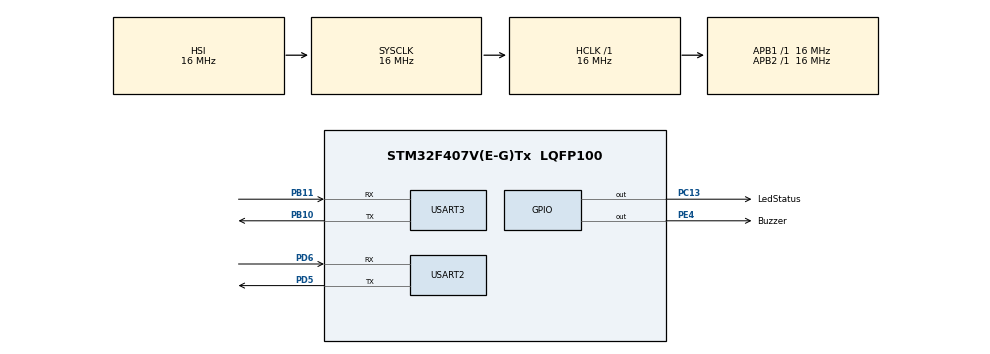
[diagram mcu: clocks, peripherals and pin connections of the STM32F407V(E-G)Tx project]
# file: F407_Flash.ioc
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Mcu.Family=STM32F4
Mcu.Name=STM32F407V(E-G)Tx
Mcu.Package=LQFP100
NVIC.FLASH_IRQn=true\:0\:0\:false\:false\:true\:true\:true\:true
NVIC.PriorityGroup=NVIC_PRIORITYGROUP_4
NVIC.USART2_IRQn=true\:0\:0\:false\:false\:true\:true\:true\:true
NVIC.USART3_IRQn=true\:0\:0\:false\:false\:true\:true\:true\:true
PA13.Mode=Serial_Wire
PA13.Signal=SYS_JTMS-SWDIO
PA14.Mode=Serial_Wire
PA14.Signal=SYS_JTCK-SWCLK
PB10.Mode=Asynchronous
PB10.Signal=USART3_TX
PB11.Mode=Asynchronous
PB11.Signal=USART3_RX
PC13-ANTI_TAMP.GPIO_Label=LedStatus
PC13-ANTI_TAMP.Signal=GPIO_Output
PD5.Mode=Asynchronous
PD5.Signal=USART2_TX
PD6.Mode=Asynchronous
PD6.Signal=USART2_RX
PE4.GPIO_Label=Buzzer
PE4.Signal=GPIO_Output
ProjectManager.HeapSize=0x200
ProjectManager.StackSize=0x400
ProjectManager.TargetToolchain=STM32CubeIDE
RCC.AHBFreq_Value=16000000
RCC.APB1Freq_Value=16000000
RCC.APB2Freq_Value=16000000
RCC.CortexFreq_Value=16000000
RCC.HSE_VALUE=25000000
RCC.HSI_VALUE=16000000
RCC.LSE_VALUE=32768
RCC.SYSCLKFreq_VALUE=16000000
RCC.VCOOutputFreq_Value=192000000
USART2.VirtualMode=VM_ASYNC
USART3.VirtualMode=VM_ASYNC
board=custom

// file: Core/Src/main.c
/* USER CODE BEGIN Header */
/**
 ******************************************************************************
 * @file           : main.c
 * @brief          : Main program body
 ******************************************************************************
 * @attention
 *
 * Copyright (c) 2024 STMicroelectronics.
 * All rights reserved.
 *
 * This software is licensed under terms that can be found in the LICENSE file
 * in the root directory of this software component.
 * If no LICENSE file comes with this software, it is provided AS-IS.
 *
 ******************************************************************************
 */
/* USER CODE END Header */
#include "main.h"

/* USER CODE BEGIN Includes */
#include "BoardParameter.h"
#include "RobotFlashData.h"
#include "string.h"
/* USER CODE END Includes */

UART_HandleTypeDef huart2;
UART_HandleTypeDef huart3;

/* USER CODE BEGIN PV */
uint8_t UARTRX3_Buffer[9];
uint8_t DataTayGame[9];
bool GamepadDataChange = false;
uint8_t txBuffer[100] = { 0 };
bool buzzerBeepFlag = false;
/* USER CODE END PV */

void SystemClock_Config(void);
static void MX_GPIO_Init(void);
static void MX_USART3_UART_Init(void);
static void MX_USART2_UART_Init(void);

/* USER CODE BEGIN 0 */

void HAL_UART_RxCpltCallback(UART_HandleTypeDef *huart) {

	if (huart->Instance == USART3) {

		HAL_UART_Receive_IT(&huart3, (uint8_t*) UARTRX3_Buffer, 9);
		int ViTriData = -1;
		for (int i = 0; i <= 8; ++i) {
			if (UARTRX3_Buffer[i] == 0xAA) {
				ViTriData = i;
			}
		}
		if (ViTriData != -1) {
			int cnt = 0;
			while (cnt < 9) {
				DataTayGame[cnt] = UARTRX3_Buffer[ViTriData];
				++ViTriData;
				if (ViTriData == 9) {
					ViTriData = 0;
				}
				++cnt;
			}
			CustomGamepad_t customGamepad = BrdParam_GetCustomGamepad();
			for (uint8_t i = 0; i < 6; i++) {
				if (customGamepad.ballMatrix[i] != DataTayGame[i + 1]) {
					customGamepad.ballMatrix[i] = DataTayGame[i + 1];
					GamepadDataChange = true;
				}
			}
			if (customGamepad.siloNum != DataTayGame[7]) {
				customGamepad.siloNum = DataTayGame[7];
				GamepadDataChange = true;
			}
			if (GamepadDataChange) {
				BrdParam_SetCustomGamepad(customGamepad);
				RBFlash_UpdateBoardParametersToFlash();
				GamepadDataChange = false;
				buzzerBeepFlag = true;
			}
		}
	}
}

void HAL_UART_ErrorCallback(UART_HandleTypeDef *huart) {
	__HAL_UART_CLEAR_OREFLAG(huart);
	memset(UARTRX3_Buffer, 0, sizeof(UARTRX3_Buffer));
	HAL_UART_Receive_IT(&huart3, (uint8_t*) UARTRX3_Buffer, 9);
	__HAL_UART_DISABLE(huart);
}

void HAL_FLASH_OperationErrorCallback(uint32_t ReturnValue)
{
	RBFlash_ErrorHandler(ReturnValue);
}

/* USER CODE END 0 */

int main(void)
{

	/* MCU Configuration--------------------------------------------------------*/

	/* Reset of all peripherals, Initializes the Flash interface and the Systick. */
	HAL_Init();

	/* Configure the system clock */
	SystemClock_Config();

	/* Initialize all configured peripherals */
	MX_GPIO_Init();
	MX_USART3_UART_Init();
	MX_USART2_UART_Init();
	/* USER CODE BEGIN 2 */
	RBFlash_LoadDataFromFlashToBoardParameters();
	CustomGamepad_t gp = BrdParam_GetCustomGamepad();
	HAL_UART_Receive_IT(&huart3, (uint8_t*) UARTRX3_Buffer, 9);
	HAL_UART_Transmit(&huart2, (uint8_t*) "Robot boot system log\n", sizeof("Robot boot system log\n"), HAL_MAX_DELAY);
	HAL_Delay(500);
	HAL_UART_Transmit(&huart2, (uint8_t*) "Demo storage custom gamepad to robot\n", sizeof("Demo storage custom gamepad to robot\n"), HAL_MAX_DELAY);
	HAL_Delay(500);
	HAL_UART_Transmit(&huart2, (uint8_t*) "Loading data from memory ...\n", sizeof("Loading data from memory ...\n"), HAL_MAX_DELAY);
	HAL_Delay(500);
	sprintf(txBuffer, "Ball 1: %u\nBall 2: %u\nBall 3: %u\nBall 4: %u\nBall 5: %u\nBall 6: %u\nSelected silo: %u\n",
			gp.ballMatrix[0],
			gp.ballMatrix[1],
			gp.ballMatrix[2],
			gp.ballMatrix[3],
			gp.ballMatrix[4],
			gp.ballMatrix[5],
			gp.siloNum);
	HAL_UART_Transmit(&huart2, txBuffer, strlen(txBuffer), HAL_MAX_DELAY);

	/* USER CODE END 2 */

	/* Infinite loop */
	/* USER CODE BEGIN WHILE */
	while (1)
	{
		if (buzzerBeepFlag) {
			HAL_GPIO_WritePin(Buzzer_GPIO_Port, Buzzer_Pin, 1);
			HAL_Delay(50);
			HAL_GPIO_WritePin(Buzzer_GPIO_Port, Buzzer_Pin, 0);
			HAL_UART_Transmit(&huart2, (uint8_t*) "Received new data from gamepad\n", sizeof("Received new data from gamepad\n"), HAL_MAX_DELAY);
			HAL_Delay(500);
			HAL_UART_Transmit(&huart2, (uint8_t*) "Save data to memory\n", sizeof("Save data to memory\n"), HAL_MAX_DELAY);
			buzzerBeepFlag = false;
		}
		if ((huart3.Instance->CR1 & USART_CR1_UE) == 0) {
			__HAL_UART_ENABLE(&huart3);
		}
		/* USER CODE END WHILE */

	}
}

void SystemClock_Config(void)
{
	RCC_OscInitTypeDef RCC_OscInitStruct = { 0 };
	RCC_ClkInitTypeDef RCC_ClkInitStruct = { 0 };

	/** Configure the main internal regulator output voltage
	 */
	__HAL_RCC_PWR_CLK_ENABLE();
	__HAL_PWR_VOLTAGESCALING_CONFIG(PWR_REGULATOR_VOLTAGE_SCALE1);

	/** Initializes the RCC Oscillators according to the specified parameters
	 * in the RCC_OscInitTypeDef structure.
	 */
	RCC_OscInitStruct.OscillatorType = RCC_OSCILLATORTYPE_HSI;
	RCC_OscInitStruct.HSIState = RCC_HSI_ON;
	RCC_OscInitStruct.HSICalibrationValue = RCC_HSICALIBRATION_DEFAULT;
	RCC_OscInitStruct.PLL.PLLState = RCC_PLL_NONE;
	if (HAL_RCC_OscConfig(&RCC_OscInitStruct) != HAL_OK)
			{
		Error_Handler();
	}

	/** Initializes the CPU, AHB and APB buses clocks
	 */
	RCC_ClkInitStruct.ClockType = RCC_CLOCKTYPE_HCLK | RCC_CLOCKTYPE_SYSCLK
			| RCC_CLOCKTYPE_PCLK1 | RCC_CLOCKTYPE_PCLK2;
	RCC_ClkInitStruct.SYSCLKSource = RCC_SYSCLKSOURCE_HSI;
	RCC_ClkInitStruct.AHBCLKDivider = RCC_SYSCLK_DIV1;
	RCC_ClkInitStruct.APB1CLKDivider = RCC_HCLK_DIV1;
	RCC_ClkInitStruct.APB2CLKDivider = RCC_HCLK_DIV1;

	if (HAL_RCC_ClockConfig(&RCC_ClkInitStruct, FLASH_LATENCY_0) != HAL_OK)
			{
		Error_Handler();
	}
}

static void MX_USART2_UART_Init(void)
{

	huart2.Instance = USART2;
	huart2.Init.BaudRate = 115200;
	huart2.Init.WordLength = UART_WORDLENGTH_8B;
	huart2.Init.StopBits = UART_STOPBITS_1;
	huart2.Init.Parity = UART_PARITY_NONE;
	huart2.Init.Mode = UART_MODE_TX_RX;
	huart2.Init.HwFlowCtl = UART_HWCONTROL_NONE;
	huart2.Init.OverSampling = UART_OVERSAMPLING_16;
	if (HAL_UART_Init(&huart2) != HAL_OK)
			{
		Error_Handler();
	}

}

static void MX_USART3_UART_Init(void)
{

	huart3.Instance = USART3;
	huart3.Init.BaudRate = 115200;
	huart3.Init.WordLength = UART_WORDLENGTH_8B;
	huart3.Init.StopBits = UART_STOPBITS_1;
	huart3.Init.Parity = UART_PARITY_NONE;
	huart3.Init.Mode = UART_MODE_TX_RX;
	huart3.Init.HwFlowCtl = UART_HWCONTROL_NONE;
	huart3.Init.OverSampling = UART_OVERSAMPLING_16;
	if (HAL_UART_Init(&huart3) != HAL_OK)
			{
		Error_Handler();
	}

}

static void MX_GPIO_Init(void)
{
	GPIO_InitTypeDef GPIO_InitStruct = { 0 };

	/* GPIO Ports Clock Enable */
	__HAL_RCC_GPIOE_CLK_ENABLE();
	__HAL_RCC_GPIOC_CLK_ENABLE();
	__HAL_RCC_GPIOB_CLK_ENABLE();
	__HAL_RCC_GPIOA_CLK_ENABLE();
	__HAL_RCC_GPIOD_CLK_ENABLE();

	/*Configure GPIO pin Output Level */
	HAL_GPIO_WritePin(Buzzer_GPIO_Port, Buzzer_Pin, GPIO_PIN_RESET);

	/*Configure GPIO pin Output Level */
	HAL_GPIO_WritePin(LedStatus_GPIO_Port, LedStatus_Pin, GPIO_PIN_RESET);

	/*Configure GPIO pin : Buzzer_Pin */
	GPIO_InitStruct.Pin = Buzzer_Pin;
	GPIO_InitStruct.Mode = GPIO_MODE_OUTPUT_PP;
	GPIO_InitStruct.Pull = GPIO_NOPULL;
	GPIO_InitStruct.Speed = GPIO_SPEED_FREQ_LOW;
	HAL_GPIO_Init(Buzzer_GPIO_Port, &GPIO_InitStruct);

	/*Configure GPIO pin : LedStatus_Pin */
	GPIO_InitStruct.Pin = LedStatus_Pin;
	GPIO_InitStruct.Mode = GPIO_MODE_OUTPUT_PP;
	GPIO_InitStruct.Pull = GPIO_NOPULL;
	GPIO_InitStruct.Speed = GPIO_SPEED_FREQ_LOW;
	HAL_GPIO_Init(LedStatus_GPIO_Port, &GPIO_InitStruct);

}

void Error_Handler(void)
{
	__disable_irq();
	while (1)
	{
	}
}
